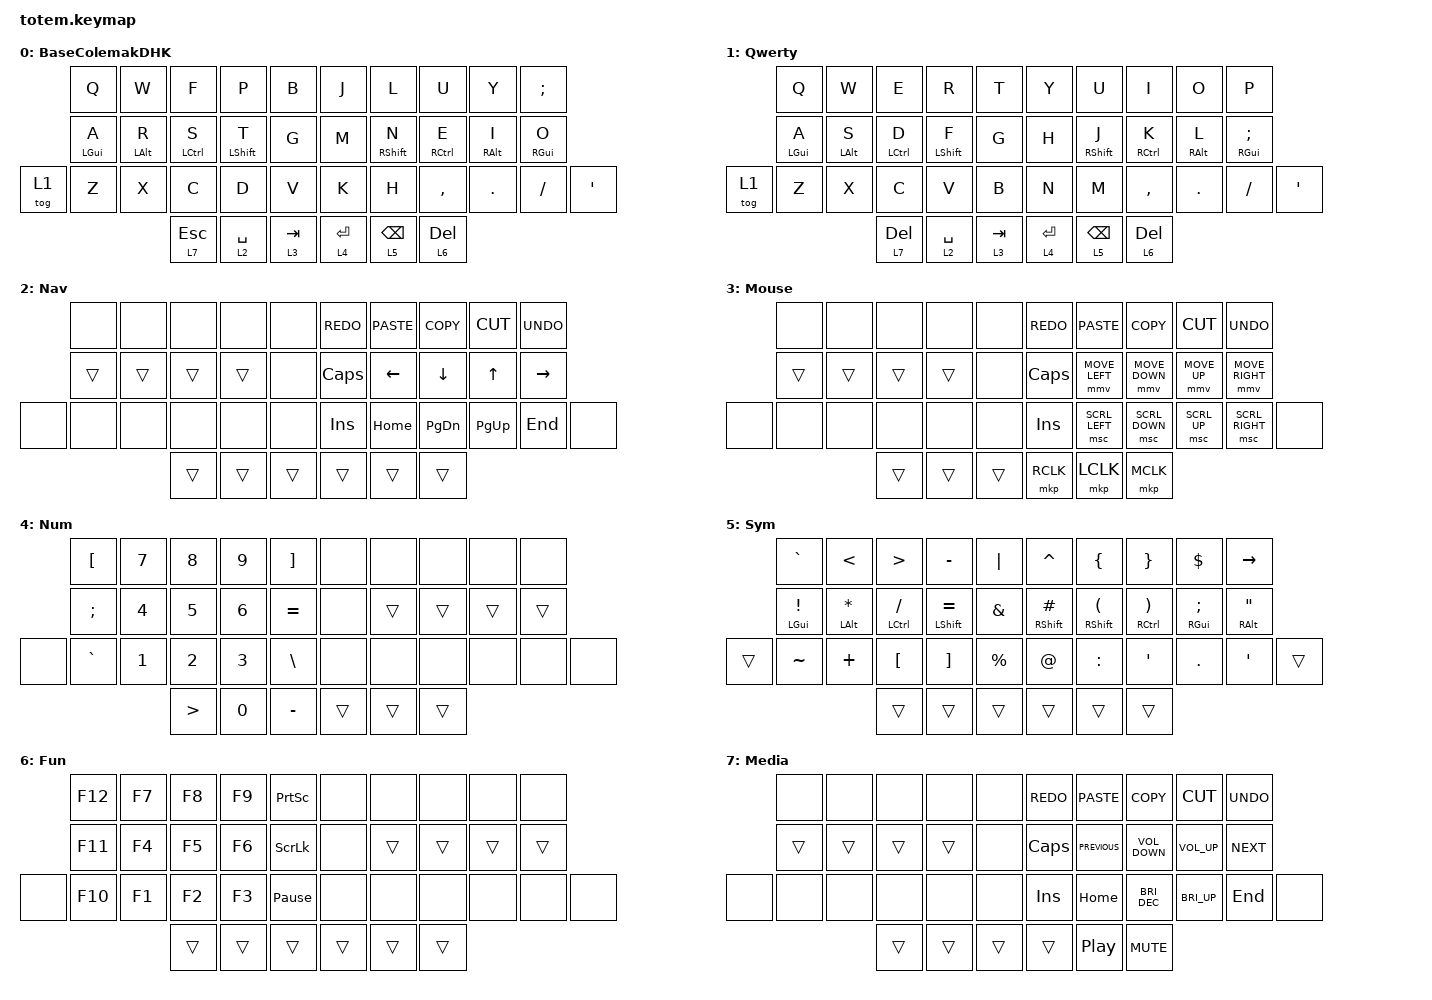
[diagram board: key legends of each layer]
//
//                                                        ▀▀▀▀▀     ▀▀▀▀▀          ▀▀█▀▀
//                                                        ▄▀▀▀▄  ▄  ▄▀▀▀▄  ▄  ▄▀▀▀▄  █  ▄▀▀▀▄
//                                                        █   █  █  █   █  █  █   █  █  █   █
//                                                         ▀▀▀   █   ▀▀▀   █   ▀▀▀   ▀   ▀▀▀
//                                                               █      ▄▄▄█▄▄▄    █   █  
//                                                               ▀      █  █  █     █▄█
//                                                             ▀▀▀▀▀    █  █  █      ▀
//                                                                      ▀  ▀  ▀
//
// //▄▄▄▄▄▄▄▄▄▄▄▄▄▄▄▄▄▄▄▄▄▄▄▄▄▄▄▄▄▄▄▄▄▄▄▄▄▄▄▄▄▄▄▄▄▄▄▄▄▄▄▄▄▄▄▄▄▄▄▄▄▄▄▄▄▄▄▄▄▄▄▄▄▄▄▄▄▄▄▄▄▄▄▄▄▄▄▄▄▄▄▄▄▄▄▄▄▄▄▄▄▄▄▄▄▄▄▄▄▄▄▄▄▄▄▄▄▄▄▄▄▄▄▄▄▄▄▄▄▄▄▄▄▄▄▄▄▄▄▄▄▄▄▄▄▄▄▄▄

#include <behaviors.dtsi>
#include <dt-bindings/zmk/keys.h>
#include <dt-bindings/zmk/pointing.h>

#define ZMK_POINTING_DEFAULT_MOVE_VAL 1500  // default: 600
#define ZMK_POINTING_DEFAULT_SCRL_VAL 20    // default: 10
#define BASE_COLEMAK 0
#define NAV 1
#define NUM 2
#define SYM 3
#define FUN 4
#define MOUSE 5
#define MEDIA 6
#define QWERTY_TOGGLE 7
#define QWERTY 8

&mt {
    quick-tap-ms = <100>;
    global-quick-tap;
    flavor = "tap-preferred";
    tapping-term-ms = <170>;
};

&lt {
    tapping-term-ms = <240>;
    flavor = "balanced";
    quick-tap-ms = <150>;
};

&mmv {
    acceleration-exponent = <1>;
    time-to-max-speed-ms = <500>;
};

&msc {
    time-to-max-speed-ms = <500>;
    acceleration-exponent = <0>;
};

/ {
    behaviors {
        hm: homerow_mods {
            compatible = "zmk,behavior-hold-tap";
            label = "HOMEROW_MODS";
            #binding-cells = <2>;
            flavor = "tap-preferred";
            tapping-term-ms = <200>;
            quick-tap-ms = <125>;
            global-quick-tap;
            bindings = <&kp>, <&kp>;
        };
    };

    conditional_layers { compatible = "zmk,conditional-layers"; };

    combos { compatible = "zmk,combos"; };

    keymap {
        compatible = "zmk,keymap";

        BaseColemakDHK {
            display-name = "BaseColemakDHK";
            bindings = <
        &kp Q       &kp W       &kp F         &kp P         &kp B        &kp J        &kp L        &kp U         &kp Y       &kp SEMI
        &hm LGUI A  &hm LALT R  &hm LCTRL S   &hm LSHIFT T  &kp G        &kp M        &hm RSHFT N  &hm RCTRL E   &hm RALT I  &hm RGUI O
&tog 1  &kp Z       &kp X       &kp C         &kp D         &kp V        &kp K        &kp H        &kp COMMA     &kp DOT     &kp SLASH   &kp APOSTROPHE
                                &lt 7 ESCAPE  &lt 2 SPACE   &lt 3 TAB    &lt 4 ENTER  &lt 5 BSPC   &lt 6 DELETE
            >;
        };

        Qwerty {
            display-name = "Qwerty";
            bindings = <
        &kp Q       &kp W       &kp E        &kp R         &kp T        &kp Y      &kp U        &kp I         &kp O       &kp P
        &hm LGUI A  &hm LALT S  &hm LCTRL D  &hm LSHIFT F  &kp G        &kp H      &hm RSHFT J  &hm RCTRL K   &hm RALT L  &hm RGUI SEMICOLON
&tog 1  &kp Z       &kp X       &kp C        &kp V         &kp B        &kp N      &kp M        &kp COMMA     &kp DOT     &kp SLASH           &kp APOSTROPHE
                                &lt 7 DEL    &lt 2 SPACE   &lt 3 TAB    &lt 4 RET  &lt 5 BSPC   &lt 6 DELETE
            >;
        };

        Nav {
            display-name = "Nav";
            bindings = <
       &none   &none   &none   &none   &none     &kp K_REDO    &kp K_PASTE     &kp K_COPY      &kp K_CUT     &kp K_UNDO
       &trans  &trans  &trans  &trans  &none     &kp CAPSLOCK  &kp LEFT_ARROW  &kp DOWN_ARROW  &kp UP_ARROW  &kp RIGHT_ARROW
&none  &none   &none   &none   &none   &none     &kp INSERT    &kp HOME        &kp PAGE_DOWN   &kp PG_UP     &kp END          &none
                       &trans  &trans  &trans    &trans        &trans          &trans
            >;
        };

        Mouse {
            display-name = "Mouse";
            bindings = <
       &none   &none   &none   &none   &none     &kp K_REDO    &kp K_PASTE     &kp K_COPY      &kp K_CUT     &kp K_UNDO
       &trans  &trans  &trans  &trans  &none     &kp CAPSLOCK  &mmv MOVE_LEFT  &mmv MOVE_DOWN  &mmv MOVE_UP  &mmv MOVE_RIGHT
&none  &none   &none   &none   &none   &none     &kp INSERT    &msc SCRL_LEFT  &msc SCRL_DOWN  &msc SCRL_UP  &msc SCRL_RIGHT  &none
                       &trans  &trans  &trans    &mkp RCLK     &mkp LCLK       &mkp MCLK
            >;
        };

        Num {
            display-name = "Num";
            bindings = <
       &kp LEFT_BRACKET  &kp N7        &kp NUMBER_8      &kp NUMBER_9  &kp RIGHT_BRACKET    &none   &none   &none   &none   &none
       &kp SEMICOLON     &kp NUMBER_4  &kp N5            &kp NUMBER_6  &kp EQUAL            &none   &trans  &trans  &trans  &trans
&none  &kp GRAVE         &kp NUMBER_1  &kp NUMBER_2      &kp NUMBER_3  &kp BACKSLASH        &none   &none   &none   &none   &none   &none
                                       &kp GREATER_THAN  &kp NUMBER_0  &kp MINUS            &trans  &trans  &trans
            >;
        };

        Sym {
            display-name = "Sym";
            bindings = <
        &kp GRAVE      &kp LESS_THAN      &kp GREATER_THAN  &kp MINUS        &kp PIPE         &kp CARET       &kp LEFT_BRACE                    &kp RIGHT_BRACE                      &kp DOLLAR     &kp RIGHT_ARROW
        &hm LGUI EXCL  &hm LALT ASTERISK  &hm LCTRL SLASH   &hm LSHFT EQUAL  &kp AMPERSAND    &hm RSHFT HASH  &hm RIGHT_SHIFT LEFT_PARENTHESIS  &hm RIGHT_CONTROL RIGHT_PARENTHESIS  &hm RGUI SEMI  &hm RIGHT_ALT DOUBLE_QUOTES
&trans  &kp TILDE      &kp PLUS           &kp LBKT          &kp RBKT         &kp PERCENT      &kp AT          &kp COLON                         &kp SQT                              &kp DOT        &kp SINGLE_QUOTE             &trans
                                          &trans            &trans           &trans           &trans          &trans                            &trans
            >;
        };

        Fun {
            display-name = "Fun";
            bindings = <
       &kp F12  &kp F7  &kp F8  &kp F9  &kp PRINTSCREEN    &none   &none   &none   &none   &none
       &kp F11  &kp F4  &kp F5  &kp F6  &kp SCROLLLOCK     &none   &trans  &trans  &trans  &trans
&none  &kp F10  &kp F1  &kp F2  &kp F3  &kp PAUSE_BREAK    &none   &none   &none   &none   &none   &none
                        &trans  &trans  &trans             &trans  &trans  &trans
            >;
        };

        Media {
            display-name = "Media";
            bindings = <
       &none   &none   &none   &none   &none     &kp K_REDO    &kp K_PASTE       &kp K_COPY         &kp K_CUT     &kp K_UNDO
       &trans  &trans  &trans  &trans  &none     &kp CAPSLOCK  &kp C_PREVIOUS    &kp C_VOLUME_DOWN  &kp C_VOL_UP  &kp C_NEXT
&none  &none   &none   &none   &none   &none     &kp INSERT    &kp HOME          &kp C_BRI_DEC      &kp C_BRI_UP  &kp END     &none
                       &trans  &trans  &trans    &trans        &kp C_PLAY_PAUSE  &kp C_MUTE
            >;
        };
    };
};
